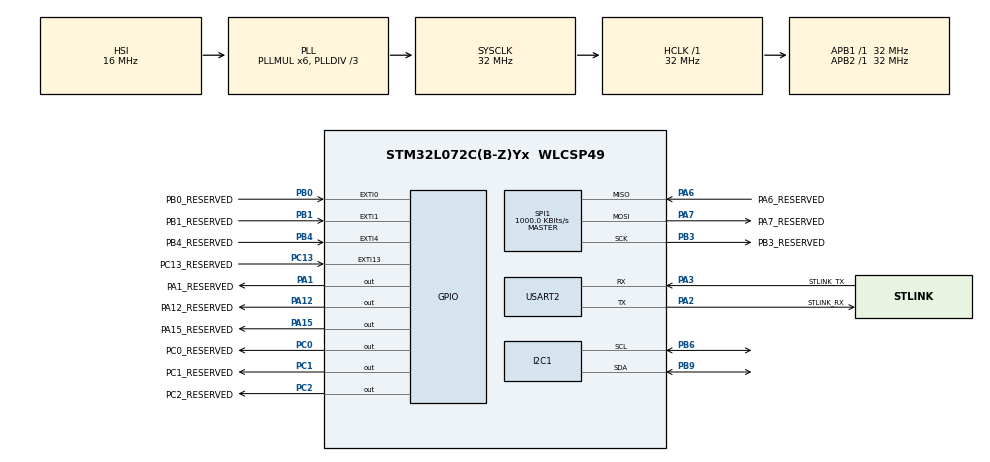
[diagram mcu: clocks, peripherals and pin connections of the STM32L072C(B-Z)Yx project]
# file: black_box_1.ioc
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Dma.I2C1_RX.0.Direction=DMA_PERIPH_TO_MEMORY
Dma.I2C1_RX.0.Instance=DMA1_Channel3
Dma.I2C1_RX.0.MemDataAlignment=DMA_MDATAALIGN_BYTE
Dma.I2C1_RX.0.MemInc=DMA_MINC_ENABLE
Dma.I2C1_RX.0.Mode=DMA_NORMAL
Dma.I2C1_RX.0.PeriphDataAlignment=DMA_PDATAALIGN_BYTE
Dma.I2C1_RX.0.PeriphInc=DMA_PINC_DISABLE
Dma.I2C1_RX.0.Priority=DMA_PRIORITY_MEDIUM
Dma.Request0=I2C1_RX
FREERTOS.BinarySemaphores01=Readi2cSem,Dynamic,NULL,Available;CalculateSem,Dynamic,NULL,Depleted
FREERTOS.Tasks01=Read_I2C,24,128,readi2c,Default,NULL,Dynamic,NULL,NULL;Calculate,32,128,calculate,Default,NULL,Dynamic,NULL,NULL
I2C1.Timing=0x00B07CB4
Mcu.Family=STM32L0
Mcu.Name=STM32L072C(B-Z)Yx
Mcu.Package=WLCSP49
NVIC.DMA1_Channel2_3_IRQn=true\:3\:0\:false\:false\:true\:true\:false\:true\:true
NVIC.EXTI0_1_IRQn=true\:3\:0\:false\:false\:true\:true\:true\:true\:true
NVIC.EXTI4_15_IRQn=true\:3\:0\:false\:false\:true\:true\:true\:true\:true
NVIC.I2C1_IRQn=true\:3\:0\:false\:false\:true\:true\:true\:true\:true
NVIC.RTC_IRQn=true\:3\:0\:false\:false\:true\:true\:true\:true\:true
NVIC.TIM6_DAC_IRQn=true\:3\:0\:false\:false\:true\:false\:false\:true\:true
NVIC.TimeBase=TIM6_DAC_IRQn
NVIC.TimeBaseIP=TIM6
NVIC.USART2_IRQn=true\:3\:0\:false\:false\:true\:true\:true\:true\:true
PA1.GPIO_Label=PA1_RESERVED
PA1.GPIO_Speed=GPIO_SPEED_FREQ_HIGH
PA1.PinState=GPIO_PIN_RESET
PA1.Signal=GPIO_Output
PA12.GPIO_Label=PA12_RESERVED
PA12.GPIO_Speed=GPIO_SPEED_FREQ_HIGH
PA12.Signal=GPIO_Output
PA15.GPIO_Label=PA15_RESERVED
PA15.GPIO_Speed=GPIO_SPEED_FREQ_HIGH
PA15.Signal=GPIO_Output
PA2.GPIO_Label=STLINK_RX
PA2.Mode=Asynchronous
PA2.Signal=USART2_TX
PA3.GPIO_Label=STLINK_TX
PA3.Mode=Asynchronous
PA3.Signal=USART2_RX
PA6.GPIO_Label=PA6_RESERVED
PA6.Mode=Full_Duplex_Master
PA6.Signal=SPI1_MISO
PA7.GPIO_Label=PA7_RESERVED
PA7.Mode=Full_Duplex_Master
PA7.Signal=SPI1_MOSI
PB0.GPIO_Label=PB0_RESERVED
PB0.Signal=GPXTI0
PB1.GPIO_Label=PB1_RESERVED
PB1.Signal=GPXTI1
PB3.GPIO_Label=PB3_RESERVED
PB3.Mode=Full_Duplex_Master
PB3.Signal=SPI1_SCK
PB4.GPIO_Label=PB4_RESERVED
PB4.Signal=GPXTI4
PB6.Mode=I2C
PB6.Signal=I2C1_SCL
PB9.Mode=I2C
PB9.Signal=I2C1_SDA
PC0.GPIO_Label=PC0_RESERVED
PC0.GPIO_Speed=GPIO_SPEED_FREQ_HIGH
PC0.Signal=GPIO_Output
PC1.GPIO_Label=PC1_RESERVED
PC1.GPIO_Speed=GPIO_SPEED_FREQ_HIGH
PC1.Signal=GPIO_Output
PC13.GPIO_Label=PC13_RESERVED
PC13.Signal=GPXTI13
PC2.GPIO_Label=PC2_RESERVED
PC2.GPIO_Speed=GPIO_SPEED_FREQ_HIGH
PC2.Signal=GPIO_Output
PH0-OSC_IN.Signal=RCC_OSC_IN
PH1-OSC_OUT.Signal=RCC_OSC_OUT
ProjectManager.HeapSize=0x200
ProjectManager.StackSize=0x400
ProjectManager.TargetToolchain=STM32CubeIDE
RCC.AHBFreq_Value=32000000
RCC.APB1Freq_Value=32000000
RCC.APB1TimFreq_Value=32000000
RCC.APB2Freq_Value=32000000
RCC.APB2TimFreq_Value=32000000
RCC.HCLKFreq_Value=32000000
RCC.HSE_VALUE=8000000
RCC.HSI16_VALUE=16000000
RCC.HSI48_VALUE=48000000
RCC.HSI_VALUE=16000000
RCC.LSE_VALUE=32768
RCC.MSI_VALUE=2097000
RCC.PLLDIV=RCC_PLLDIV_3
RCC.PLLMUL=RCC_PLLMUL_6
RCC.SYSCLKFreq_VALUE=32000000
RCC.SYSCLKSource=RCC_SYSCLKSOURCE_PLLCLK
RCC.VCOOutputFreq_Value=96000000
RTC.Alarm-Alarm\ A=RTC_ALARM_A
RTC.AlarmSubSecondMask-Alarm\ A=RTC_ALARMSUBSECONDMASK_NONE
RTC.AsynchPrediv=31
RTC.Format=RTC_FORMAT_BIN
RTC.SynchPrediv=1023
SPI1.BaudRatePrescaler=SPI_BAUDRATEPRESCALER_32
SPI1.CalculateBaudRate=1000.0 KBits/s
SPI1.Direction=SPI_DIRECTION_2LINES
SPI1.Mode=SPI_MODE_MASTER
SPI1.VirtualType=VM_MASTER
USART2.VirtualMode-Asynchronous=VM_ASYNC
VP_FREERTOS_VS_CMSIS_V2.Mode=CMSIS_V2
VP_RTC_VS_RTC_Activate.Mode=RTC_Enabled
VP_RTC_VS_RTC_Alarm_A_Intern.Mode=Alarm A
VP_RTC_VS_RTC_Calendar.Mode=RTC_Calendar
VP_SYS_VS_tim6.Mode=TIM6
board=B-L072Z-LRWAN1

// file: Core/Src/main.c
/* USER CODE BEGIN Header */
/**
  ******************************************************************************
  * @file           : main.c
  * @brief          : Main program body
  ******************************************************************************
  * @attention
  *
  * Copyright (c) 2026 STMicroelectronics.
  * All rights reserved.
  *
  * This software is licensed under terms that can be found in the LICENSE file
  * in the root directory of this software component.
  * If no LICENSE file comes with this software, it is provided AS-IS.
  *
  ******************************************************************************
  */
/* USER CODE END Header */
#include "main.h"
#include "cmsis_os.h"

/* USER CODE BEGIN Includes */
#include "stdio.h"
/* USER CODE END Includes */

/* USER CODE BEGIN PD */
#define MPU6050_ADDR 0x68

#define REG_PWR_MGMT_1 0x6b
#define REG_WHO_AM_I 0x75
#define REG_ACCEL_XOUT_L  0x3c
#define REG_ACCEL_XOUT_H 0x3b
#define REG_ACCEL_YOUT_H 0x3d
#define REG_ACCEL_ZOUT_H 0x3f
#define REG_GYRO_XOUT_H 0x43
#define REG_GYRO_YOUT_H 0x45
#define REG_GYRO_ZOUT_H 0x47
/* USER CODE END PD */

I2C_HandleTypeDef hi2c1;
DMA_HandleTypeDef hdma_i2c1_rx;

RTC_HandleTypeDef hrtc;

SPI_HandleTypeDef hspi1;

UART_HandleTypeDef huart2;

/* Definitions for Read_I2C */
osThreadId_t Read_I2CHandle;
const osThreadAttr_t Read_I2C_attributes = {
  .name = "Read_I2C",
  .stack_size = 128 * 4,
  .priority = (osPriority_t) osPriorityNormal,
};
/* Definitions for Calculate */
osThreadId_t CalculateHandle;
const osThreadAttr_t Calculate_attributes = {
  .name = "Calculate",
  .stack_size = 512 * 4,
  .priority = (osPriority_t) osPriorityAboveNormal,
};
/* Definitions for Readi2cSem */
osSemaphoreId_t Readi2cSemHandle;
const osSemaphoreAttr_t Readi2cSem_attributes = {
  .name = "Readi2cSem"
};
/* Definitions for CalculateSem */
osSemaphoreId_t CalculateSemHandle;
const osSemaphoreAttr_t CalculateSem_attributes = {
  .name = "CalculateSem"
};
/* USER CODE BEGIN PV */
uint8_t acc_buffer[6];
float acc[3];

/* USER CODE END PV */

void SystemClock_Config(void);
static void MX_GPIO_Init(void);
static void MX_DMA_Init(void);
static void MX_I2C1_Init(void);
static void MX_RTC_Init(void);
static void MX_SPI1_Init(void);
static void MX_USART2_UART_Init(void);
void readi2c(void *argument);
void calculate(void *argument);

/* USER CODE BEGIN 0 */
int _write(int file, char *ptr, int len){
	HAL_StatusTypeDef hstatus;
	hstatus = HAL_UART_Transmit(&huart2,(uint8_t *)ptr, len, HAL_MAX_DELAY);
	if(hstatus==HAL_OK)
		return len;
	else
		return -1;
}

void HAL_I2C_MemRxCpltCallback(I2C_HandleTypeDef *hi2c) {
    if (hi2c->Instance == I2C1) {
//    	printf("\nReading through DMA complete!");
    	osSemaphoreRelease(CalculateSemHandle);
    }
}

uint8_t MPU6050_WakeUp(I2C_HandleTypeDef *i2c){
	uint8_t data = 0x0;
	if(HAL_I2C_Mem_Write(i2c,MPU6050_ADDR<<1,REG_PWR_MGMT_1,1,&data,1,100)==HAL_OK)
		return 1;
	else
		return 0;
}
/* USER CODE END 0 */

int main(void)
{

  /* MCU Configuration--------------------------------------------------------*/

  /* Reset of all peripherals, Initializes the Flash interface and the Systick. */
  HAL_Init();

  /* Configure the system clock */
  SystemClock_Config();

  /* Initialize all configured peripherals */
  MX_GPIO_Init();
  MX_DMA_Init();
  MX_I2C1_Init();
  MX_RTC_Init();
  MX_SPI1_Init();
  MX_USART2_UART_Init();
  /* USER CODE BEGIN 2 */
  printf("*****************Started MPU code***********************\n");
  printf("Waking up the sensor now.");
    uint8_t stat = MPU6050_WakeUp(&hi2c1);
    if(stat==1)
  	  printf("\nSensor woke up!");
    else
  	  printf("\nFailed to wake up sensor!");
  /* USER CODE END 2 */

  /* Init scheduler */
  osKernelInitialize();

  /* Create the semaphores(s) */
  /* creation of Readi2cSem */
  Readi2cSemHandle = osSemaphoreNew(1, 1, &Readi2cSem_attributes);

  /* creation of CalculateSem */
  CalculateSemHandle = osSemaphoreNew(1, 0, &CalculateSem_attributes);

  /* Create the thread(s) */
  /* creation of Read_I2C */
  Read_I2CHandle = osThreadNew(readi2c, NULL, &Read_I2C_attributes);

  /* creation of Calculate */
  CalculateHandle = osThreadNew(calculate, NULL, &Calculate_attributes);

  /* Start scheduler */
  osKernelStart();

  /* We should never get here as control is now taken by the scheduler */

  /* Infinite loop */
  while (1)
  {

  }
}

void SystemClock_Config(void)
{
  RCC_OscInitTypeDef RCC_OscInitStruct = {0};
  RCC_ClkInitTypeDef RCC_ClkInitStruct = {0};
  RCC_PeriphCLKInitTypeDef PeriphClkInit = {0};

  /** Configure the main internal regulator output voltage
  */
  __HAL_PWR_VOLTAGESCALING_CONFIG(PWR_REGULATOR_VOLTAGE_SCALE1);

  /** Initializes the RCC Oscillators according to the specified parameters
  * in the RCC_OscInitTypeDef structure.
  */
  RCC_OscInitStruct.OscillatorType = RCC_OSCILLATORTYPE_HSI|RCC_OSCILLATORTYPE_LSI;
  RCC_OscInitStruct.HSIState = RCC_HSI_ON;
  RCC_OscInitStruct.HSICalibrationValue = RCC_HSICALIBRATION_DEFAULT;
  RCC_OscInitStruct.LSIState = RCC_LSI_ON;
  RCC_OscInitStruct.PLL.PLLState = RCC_PLL_ON;
  RCC_OscInitStruct.PLL.PLLSource = RCC_PLLSOURCE_HSI;
  RCC_OscInitStruct.PLL.PLLMUL = RCC_PLLMUL_6;
  RCC_OscInitStruct.PLL.PLLDIV = RCC_PLLDIV_3;
  if (HAL_RCC_OscConfig(&RCC_OscInitStruct) != HAL_OK)
  {
    Error_Handler();
  }

  /** Initializes the CPU, AHB and APB buses clocks
  */
  RCC_ClkInitStruct.ClockType = RCC_CLOCKTYPE_HCLK|RCC_CLOCKTYPE_SYSCLK
                              |RCC_CLOCKTYPE_PCLK1|RCC_CLOCKTYPE_PCLK2;
  RCC_ClkInitStruct.SYSCLKSource = RCC_SYSCLKSOURCE_PLLCLK;
  RCC_ClkInitStruct.AHBCLKDivider = RCC_SYSCLK_DIV1;
  RCC_ClkInitStruct.APB1CLKDivider = RCC_HCLK_DIV1;
  RCC_ClkInitStruct.APB2CLKDivider = RCC_HCLK_DIV1;

  if (HAL_RCC_ClockConfig(&RCC_ClkInitStruct, FLASH_LATENCY_1) != HAL_OK)
  {
    Error_Handler();
  }
  PeriphClkInit.PeriphClockSelection = RCC_PERIPHCLK_USART2|RCC_PERIPHCLK_I2C1
                              |RCC_PERIPHCLK_RTC;
  PeriphClkInit.Usart2ClockSelection = RCC_USART2CLKSOURCE_PCLK1;
  PeriphClkInit.I2c1ClockSelection = RCC_I2C1CLKSOURCE_PCLK1;
  PeriphClkInit.RTCClockSelection = RCC_RTCCLKSOURCE_LSI;
  if (HAL_RCCEx_PeriphCLKConfig(&PeriphClkInit) != HAL_OK)
  {
    Error_Handler();
  }
}

static void MX_I2C1_Init(void)
{

  hi2c1.Instance = I2C1;
  hi2c1.Init.Timing = 0x00B07CB4;
  hi2c1.Init.OwnAddress1 = 0;
  hi2c1.Init.AddressingMode = I2C_ADDRESSINGMODE_7BIT;
  hi2c1.Init.DualAddressMode = I2C_DUALADDRESS_DISABLE;
  hi2c1.Init.OwnAddress2 = 0;
  hi2c1.Init.OwnAddress2Masks = I2C_OA2_NOMASK;
  hi2c1.Init.GeneralCallMode = I2C_GENERALCALL_DISABLE;
  hi2c1.Init.NoStretchMode = I2C_NOSTRETCH_DISABLE;
  if (HAL_I2C_Init(&hi2c1) != HAL_OK)
  {
    Error_Handler();
  }

  /** Configure Analogue filter
  */
  if (HAL_I2CEx_ConfigAnalogFilter(&hi2c1, I2C_ANALOGFILTER_ENABLE) != HAL_OK)
  {
    Error_Handler();
  }

  /** Configure Digital filter
  */
  if (HAL_I2CEx_ConfigDigitalFilter(&hi2c1, 0) != HAL_OK)
  {
    Error_Handler();
  }

}

static void MX_RTC_Init(void)
{

  RTC_TimeTypeDef sTime = {0};
  RTC_DateTypeDef sDate = {0};
  RTC_AlarmTypeDef sAlarm = {0};

  /** Initialize RTC Only
  */
  hrtc.Instance = RTC;
  hrtc.Init.HourFormat = RTC_HOURFORMAT_24;
  hrtc.Init.AsynchPrediv = 31;
  hrtc.Init.SynchPrediv = 1023;
  hrtc.Init.OutPut = RTC_OUTPUT_DISABLE;
  hrtc.Init.OutPutRemap = RTC_OUTPUT_REMAP_NONE;
  hrtc.Init.OutPutPolarity = RTC_OUTPUT_POLARITY_HIGH;
  hrtc.Init.OutPutType = RTC_OUTPUT_TYPE_OPENDRAIN;
  if (HAL_RTC_Init(&hrtc) != HAL_OK)
  {
    Error_Handler();
  }

  /** Initialize RTC and set the Time and Date
  */
  sTime.Hours = 0;
  sTime.Minutes = 0;
  sTime.Seconds = 0;
  sTime.DayLightSaving = RTC_DAYLIGHTSAVING_NONE;
  sTime.StoreOperation = RTC_STOREOPERATION_RESET;
  if (HAL_RTC_SetTime(&hrtc, &sTime, RTC_FORMAT_BIN) != HAL_OK)
  {
    Error_Handler();
  }
  sDate.WeekDay = RTC_WEEKDAY_MONDAY;
  sDate.Month = RTC_MONTH_JANUARY;
  sDate.Date = 1;
  sDate.Year = 0;

  if (HAL_RTC_SetDate(&hrtc, &sDate, RTC_FORMAT_BIN) != HAL_OK)
  {
    Error_Handler();
  }

  /** Enable the Alarm A
  */
  sAlarm.AlarmTime.Hours = 0;
  sAlarm.AlarmTime.Minutes = 0;
  sAlarm.AlarmTime.Seconds = 0;
  sAlarm.AlarmTime.SubSeconds = 0;
  sAlarm.AlarmTime.DayLightSaving = RTC_DAYLIGHTSAVING_NONE;
  sAlarm.AlarmTime.StoreOperation = RTC_STOREOPERATION_RESET;
  sAlarm.AlarmMask = RTC_ALARMMASK_NONE;
  sAlarm.AlarmSubSecondMask = RTC_ALARMSUBSECONDMASK_NONE;
  sAlarm.AlarmDateWeekDaySel = RTC_ALARMDATEWEEKDAYSEL_DATE;
  sAlarm.AlarmDateWeekDay = 1;
  sAlarm.Alarm = RTC_ALARM_A;
  if (HAL_RTC_SetAlarm_IT(&hrtc, &sAlarm, RTC_FORMAT_BIN) != HAL_OK)
  {
    Error_Handler();
  }

}

static void MX_SPI1_Init(void)
{

  /* SPI1 parameter configuration*/
  hspi1.Instance = SPI1;
  hspi1.Init.Mode = SPI_MODE_MASTER;
  hspi1.Init.Direction = SPI_DIRECTION_2LINES;
  hspi1.Init.DataSize = SPI_DATASIZE_8BIT;
  hspi1.Init.CLKPolarity = SPI_POLARITY_LOW;
  hspi1.Init.CLKPhase = SPI_PHASE_1EDGE;
  hspi1.Init.NSS = SPI_NSS_SOFT;
  hspi1.Init.BaudRatePrescaler = SPI_BAUDRATEPRESCALER_32;
  hspi1.Init.FirstBit = SPI_FIRSTBIT_MSB;
  hspi1.Init.TIMode = SPI_TIMODE_DISABLE;
  hspi1.Init.CRCCalculation = SPI_CRCCALCULATION_DISABLE;
  hspi1.Init.CRCPolynomial = 7;
  if (HAL_SPI_Init(&hspi1) != HAL_OK)
  {
    Error_Handler();
  }

}

static void MX_USART2_UART_Init(void)
{

  huart2.Instance = USART2;
  huart2.Init.BaudRate = 115200;
  huart2.Init.WordLength = UART_WORDLENGTH_8B;
  huart2.Init.StopBits = UART_STOPBITS_1;
  huart2.Init.Parity = UART_PARITY_NONE;
  huart2.Init.Mode = UART_MODE_TX_RX;
  huart2.Init.HwFlowCtl = UART_HWCONTROL_NONE;
  huart2.Init.OverSampling = UART_OVERSAMPLING_16;
  huart2.Init.OneBitSampling = UART_ONE_BIT_SAMPLE_DISABLE;
  huart2.AdvancedInit.AdvFeatureInit = UART_ADVFEATURE_NO_INIT;
  if (HAL_UART_Init(&huart2) != HAL_OK)
  {
    Error_Handler();
  }

}

static void MX_DMA_Init(void)
{

  /* DMA controller clock enable */
  __HAL_RCC_DMA1_CLK_ENABLE();

  /* DMA interrupt init */
  /* DMA1_Channel2_3_IRQn interrupt configuration */
  HAL_NVIC_SetPriority(DMA1_Channel2_3_IRQn, 3, 0);
  HAL_NVIC_EnableIRQ(DMA1_Channel2_3_IRQn);

}

static void MX_GPIO_Init(void)
{
  GPIO_InitTypeDef GPIO_InitStruct = {0};

  /* GPIO Ports Clock Enable */
  __HAL_RCC_GPIOA_CLK_ENABLE();
  __HAL_RCC_GPIOB_CLK_ENABLE();
  __HAL_RCC_GPIOC_CLK_ENABLE();
  __HAL_RCC_GPIOH_CLK_ENABLE();

  /*Configure GPIO pin Output Level */
  HAL_GPIO_WritePin(GPIOA, PA15_RESERVED_Pin|PA12_RESERVED_Pin|PA1_RESERVED_Pin, GPIO_PIN_RESET);

  /*Configure GPIO pin Output Level */
  HAL_GPIO_WritePin(GPIOC, PC1_RESERVED_Pin|PC0_RESERVED_Pin|PC2_RESERVED_Pin, GPIO_PIN_RESET);

  /*Configure GPIO pins : PA15_RESERVED_Pin PA12_RESERVED_Pin PA1_RESERVED_Pin */
  GPIO_InitStruct.Pin = PA15_RESERVED_Pin|PA12_RESERVED_Pin|PA1_RESERVED_Pin;
  GPIO_InitStruct.Mode = GPIO_MODE_OUTPUT_PP;
  GPIO_InitStruct.Pull = GPIO_NOPULL;
  GPIO_InitStruct.Speed = GPIO_SPEED_FREQ_HIGH;
  HAL_GPIO_Init(GPIOA, &GPIO_InitStruct);

  /*Configure GPIO pins : PB4_RESERVED_Pin PB1_RESERVED_Pin PB0_RESERVED_Pin */
  GPIO_InitStruct.Pin = PB4_RESERVED_Pin|PB1_RESERVED_Pin|PB0_RESERVED_Pin;
  GPIO_InitStruct.Mode = GPIO_MODE_IT_RISING;
  GPIO_InitStruct.Pull = GPIO_NOPULL;
  HAL_GPIO_Init(GPIOB, &GPIO_InitStruct);

  /*Configure GPIO pin : PC13_RESERVED_Pin */
  GPIO_InitStruct.Pin = PC13_RESERVED_Pin;
  GPIO_InitStruct.Mode = GPIO_MODE_IT_RISING;
  GPIO_InitStruct.Pull = GPIO_NOPULL;
  HAL_GPIO_Init(PC13_RESERVED_GPIO_Port, &GPIO_InitStruct);

  /*Configure GPIO pins : PC1_RESERVED_Pin PC0_RESERVED_Pin PC2_RESERVED_Pin */
  GPIO_InitStruct.Pin = PC1_RESERVED_Pin|PC0_RESERVED_Pin|PC2_RESERVED_Pin;
  GPIO_InitStruct.Mode = GPIO_MODE_OUTPUT_PP;
  GPIO_InitStruct.Pull = GPIO_NOPULL;
  GPIO_InitStruct.Speed = GPIO_SPEED_FREQ_HIGH;
  HAL_GPIO_Init(GPIOC, &GPIO_InitStruct);

  /* EXTI interrupt init*/
  HAL_NVIC_SetPriority(EXTI0_1_IRQn, 3, 0);
  HAL_NVIC_EnableIRQ(EXTI0_1_IRQn);

  HAL_NVIC_SetPriority(EXTI4_15_IRQn, 3, 0);
  HAL_NVIC_EnableIRQ(EXTI4_15_IRQn);

}

void readi2c(void *argument)
{
  /* USER CODE BEGIN 5 */
//printf("\nRead i2c task started");
  /* Infinite loop */
  for(;;)
  {
//	printf("\nTrying to aquire read semph");
	if(osSemaphoreAcquire(Readi2cSemHandle,osWaitForever)==osOK){
//		printf("\nReading i2c...");
		if(HAL_I2C_Mem_Read_DMA(&hi2c1, MPU6050_ADDR<<1 , REG_ACCEL_XOUT_H, I2C_MEMADD_SIZE_8BIT, acc_buffer, 6)!=HAL_OK)
		    	printf("\nDMA initiation failed!");
	}
    osDelay(5);
  }
  /* USER CODE END 5 */
}

void calculate(void *argument)
{
  /* USER CODE BEGIN calculate */
//	printf("\nCalculate task started");
  /* Infinite loop */
  for(;;)
  {
	if(osSemaphoreAcquire(CalculateSemHandle,osWaitForever)==osOK){
//		printf("\nCalculating...");

		acc[0]=(((int16_t)(acc_buffer[0]<<8 | acc_buffer[1]))/16384.0);
		acc[1]=(((int16_t)(acc_buffer[2]<<8 | acc_buffer[3]))/16384.0);
		acc[2]=(((int16_t)(acc_buffer[4]<<8 | acc_buffer[5]))/16384.0);

		printf("\n%.2f %.2f %.2f",acc[0],acc[1],acc[2]);
//		printf("\n%d %d",acc_buffer[0],acc_buffer[1]);
//		printf("\nReleasing Readi2cSem...");

    	osSemaphoreRelease(Readi2cSemHandle);
	}
    osDelay(5);
  }
  /* USER CODE END calculate */
}

void HAL_TIM_PeriodElapsedCallback(TIM_HandleTypeDef *htim)
{
  if (htim->Instance == TIM6)
  {
    HAL_IncTick();
  }
}

void Error_Handler(void)
{
  __disable_irq();
  while (1)
  {
  }
}
